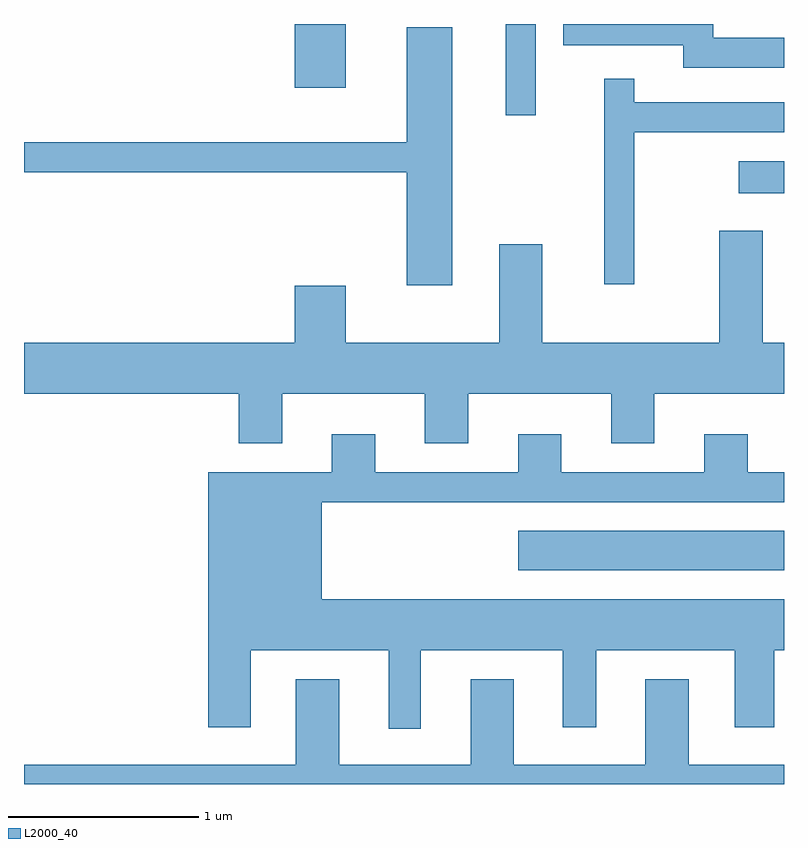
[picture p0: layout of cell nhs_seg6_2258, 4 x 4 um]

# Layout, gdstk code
import gdstk
lib = gdstk.Library(unit=1e-6, precision=1e-09)
def R(c, l, rs):  # rectangles x0, y0, x1, y1
    for r in rs: c.add(gdstk.rectangle(r[:2], r[2:], *l))
def P(c, l, *ps):  # polygons
    for p in ps: c.add(gdstk.Polygon(p, *l))
L2000_40 = (2000, 40)

nhs_seg6_2258 = lib.new_cell('nhs_seg6_2258')
R(nhs_seg6_2258, L2000_40, [(256.211,1591.286,257.611,1591.494), (257.373,1593.271,257.611,1593.439), (256.146,1593.683,256.304,1594.162), (255.036,1593.826,255.304,1594.162)])
P(nhs_seg6_2258, L2000_40, [(257.611,1594.089),(257.239,1594.089),(257.239,1594.162),(256.448,1594.162),(256.448,1594.051),(257.081,1594.051),(257.081,1593.931),(257.611,1593.931)],
  [(255.864,1594.144),(255.626,1594.144),(255.626,1593.539),(253.611,1593.539),(253.611,1593.381),(255.626,1593.381),(255.626,1592.786),(255.864,1592.786)],
  [(256.824,1593.591),(257.611,1593.591),(257.611,1593.749),(256.824,1593.749),(256.824,1593.873),(256.666,1593.873),(256.666,1592.793),(256.824,1592.793)],
  [(254.969,1592.216),(255.721,1592.216),(255.721,1591.956),(255.949,1591.956),(255.949,1592.216),(256.701,1592.216),(256.701,1591.956),(256.929,1591.956),(256.929,1592.216),(257.611,1592.216),(257.611,1592.484),(257.499,1592.484),(257.499,1593.074),(257.271,1593.074),(257.271,1592.484),(256.339,1592.484),(256.339,1593.004),(256.111,1593.004),(256.111,1592.484),(255.304,1592.484),(255.304,1592.784),(255.036,1592.784),(255.036,1592.484),(253.611,1592.484),(253.611,1592.216),(254.741,1592.216),(254.741,1591.956),(254.969,1591.956)],
  [(255.699,1590.866),(256.446,1590.866),(256.446,1590.461),(256.624,1590.461),(256.624,1590.866),(257.351,1590.866),(257.351,1590.461),(257.559,1590.461),(257.559,1590.866),(257.611,1590.866),(257.611,1591.134),(255.179,1591.134),(255.179,1591.646),(257.611,1591.646),(257.611,1591.804),(257.419,1591.804),(257.419,1592.004),(257.191,1592.004),(257.191,1591.804),(256.439,1591.804),(256.439,1592.004),(256.211,1592.004),(256.211,1591.804),(255.459,1591.804),(255.459,1592.004),(255.231,1592.004),(255.231,1591.804),(254.581,1591.804),(254.581,1590.461),(254.804,1590.461),(254.804,1590.866),(255.531,1590.866),(255.531,1590.453),(255.699,1590.453)],
  [(257.611,1590.264),(257.109,1590.264),(257.109,1590.714),(256.881,1590.714),(256.881,1590.264),(256.189,1590.264),(256.189,1590.714),(255.961,1590.714),(255.961,1590.264),(255.269,1590.264),(255.269,1590.714),(255.041,1590.714),(255.041,1590.264),(253.611,1590.264),(253.611,1590.162),(257.611,1590.162)])

lib.write_gds('nhs_seg6_2258.gds')
